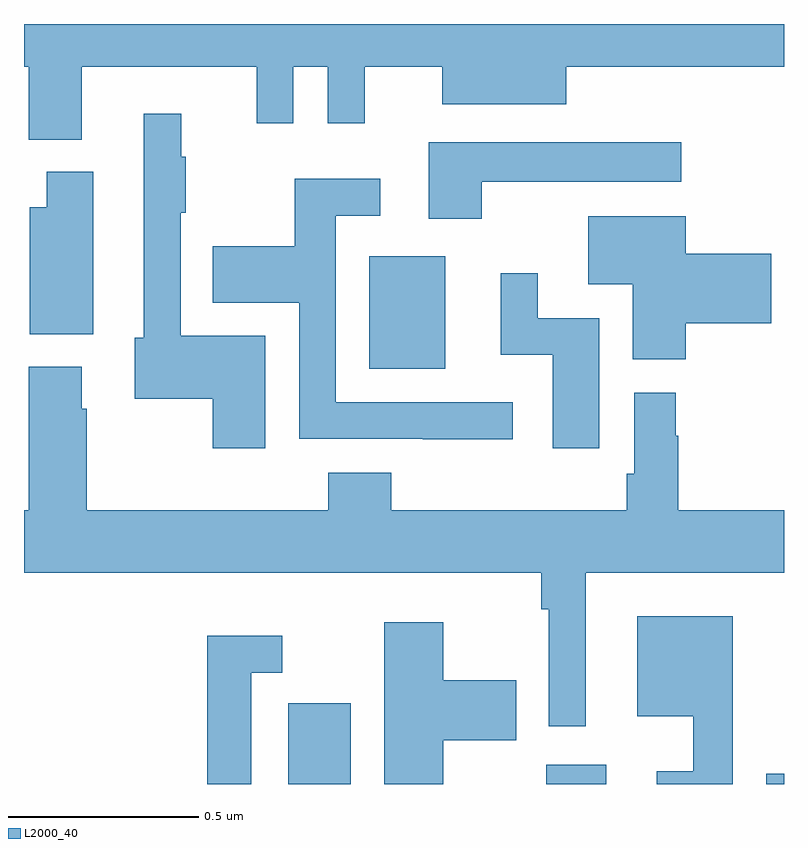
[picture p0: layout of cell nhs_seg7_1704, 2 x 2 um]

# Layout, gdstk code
import gdstk
lib = gdstk.Library(unit=1e-6, precision=1e-09)
def R(c, l, rs):  # rectangles x0, y0, x1, y1
    for r in rs: c.add(gdstk.rectangle(r[:2], r[2:], *l))
def P(c, l, *ps):  # polygons
    for p in ps: c.add(gdstk.Polygon(p, *l))
L2000_40 = (2000, 40)

nhs_seg7_1704 = lib.new_cell('nhs_seg7_1704')
R(nhs_seg7_1704, L2000_40, [(134.696,1060,134.86,1060.213), (135.374,1060,135.532,1060.051), (135.953,1060,136,1060.027), (134.909,1061.093,135.109,1061.389)])
P(nhs_seg7_1704, L2000_40, [(134.152,1061.888),(134.612,1061.888),(134.612,1061.739),(134.709,1061.739),(134.709,1061.888),(134.799,1061.888),(134.799,1061.739),(134.897,1061.739),(134.897,1061.888),(135.101,1061.888),(135.101,1061.789),(135.427,1061.789),(135.427,1061.888),(136,1061.888),(136,1062),(134,1062),(134,1061.888),(134.012,1061.888),(134.012,1061.696),(134.152,1061.696)],
  [(134.635,1061.179),(134.412,1061.179),(134.412,1061.503),(134.425,1061.503),(134.425,1061.651),(134.414,1061.651),(134.414,1061.764),(134.315,1061.764),(134.315,1061.175),(134.291,1061.175),(134.291,1061.014),(134.497,1061.014),(134.497,1060.884),(134.635,1060.884)],
  [(135.205,1061.585),(135.73,1061.585),(135.73,1061.689),(135.065,1061.689),(135.065,1061.487),(135.205,1061.487)],
  [(134.182,1061.611),(134.06,1061.611),(134.06,1061.518),(134.015,1061.518),(134.015,1061.183),(134.182,1061.183)],
  [(135.286,1061.004),(134.82,1061.004),(134.82,1061.496),(134.938,1061.496),(134.938,1061.593),(134.712,1061.593),(134.712,1061.415),(134.497,1061.415),(134.497,1061.267),(134.724,1061.267),(134.724,1060.908),(135.049,1060.908),(135.049,1060.907),(135.286,1060.907)],
  [(135.742,1061.213),(135.967,1061.213),(135.967,1061.396),(135.742,1061.396),(135.742,1061.494),(135.485,1061.494),(135.485,1061.315),(135.602,1061.315),(135.602,1061.118),(135.742,1061.118)],
  [(135.514,1061.226),(135.352,1061.226),(135.352,1061.344),(135.254,1061.344),(135.254,1061.13),(135.392,1061.13),(135.392,1060.884),(135.514,1060.884)],
  [(135.478,1060.556),(136,1060.556),(136,1060.72),(135.722,1060.72),(135.722,1060.916),(135.715,1060.916),(135.715,1061.029),(135.606,1061.029),(135.606,1060.816),(135.586,1060.816),(135.586,1060.72),(134.966,1060.72),(134.966,1060.819),(134.801,1060.819),(134.801,1060.72),(134.165,1060.72),(134.165,1060.988),(134.152,1060.988),(134.152,1061.098),(134.012,1061.098),(134.012,1060.72),(134,1060.72),(134,1060.556),(135.361,1060.556),(135.361,1060.46),(135.381,1060.46),(135.381,1060.152),(135.478,1060.152)],
  [(135.865,1060.441),(135.614,1060.441),(135.614,1060.178),(135.761,1060.178),(135.761,1060.033),(135.665,1060.033),(135.665,1060),(135.865,1060)],
  [(135.103,1060.115),(135.296,1060.115),(135.296,1060.273),(135.103,1060.273),(135.103,1060.426),(134.948,1060.426),(134.948,1060),(135.103,1060)],
  [(134.598,1060.293),(134.68,1060.293),(134.68,1060.39),(134.482,1060.39),(134.482,1060),(134.598,1060)])

lib.write_gds('nhs_seg7_1704.gds')
